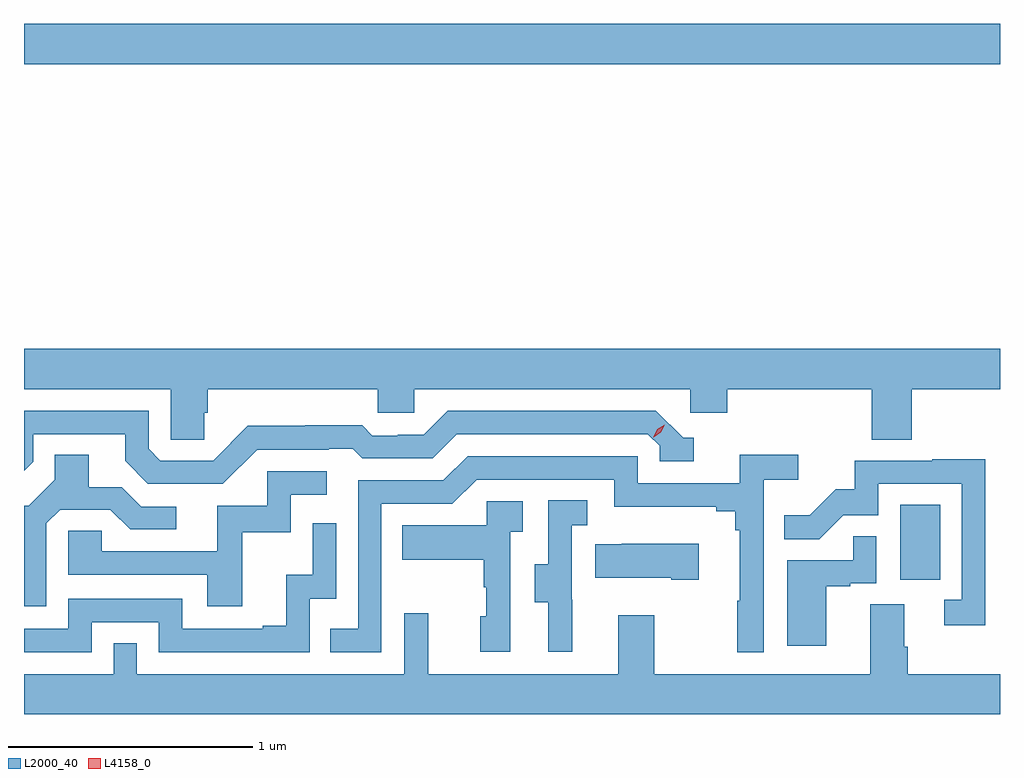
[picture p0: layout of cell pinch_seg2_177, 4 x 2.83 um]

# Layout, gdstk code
import gdstk
lib = gdstk.Library(unit=1e-6, precision=1e-09)
def R(c, l, rs):  # rectangles x0, y0, x1, y1
    for r in rs: c.add(gdstk.rectangle(r[:2], r[2:], *l))
def P(c, l, *ps):  # polygons
    for p in ps: c.add(gdstk.Polygon(p, *l))
L2000_40 = (2000, 40)
L4158_0 = (4158, 0)

pinch_seg2_177 = lib.new_cell('pinch_seg2_177')
R(pinch_seg2_177, L2000_40, [(1117.964,630.87,1118.128,631.177), (1114.373,632.984,1118.373,633.148)])
P(pinch_seg2_177, L2000_40, [(1115.111,631.554),(1115.126,631.554),(1115.126,631.652),(1115.823,631.652),(1115.823,631.554),(1115.973,631.554),(1115.973,631.652),(1117.104,631.652),(1117.104,631.554),(1117.256,631.554),(1117.256,631.652),(1117.847,631.652),(1117.847,631.444),(1118.012,631.444),(1118.012,631.652),(1118.373,631.652),(1118.373,631.816),(1114.373,631.816),(1114.373,631.652),(1114.974,631.652),(1114.974,631.444),(1115.111,631.444)],
  [(1115.328,631.404),(1115.621,631.404),(1115.621,631.407),(1115.72,631.407),(1115.759,631.368),(1116.048,631.368),(1116.147,631.467),(1116.93,631.467),(1116.978,631.419),(1116.978,631.356),(1117.117,631.356),(1117.117,631.452),(1117.074,631.452),(1116.963,631.563),(1116.11,631.563),(1116.011,631.464),(1115.904,631.464),(1115.904,631.461),(1115.801,631.461),(1115.759,631.504),(1115.526,631.504),(1115.526,631.501),(1115.29,631.501),(1115.148,631.359),(1114.932,631.359),(1114.884,631.407),(1114.884,631.563),(1114.373,631.563),(1114.373,631.316),(1114.41,631.353),(1114.41,631.467),(1114.787,631.467),(1114.787,631.357),(1114.881,631.263),(1115.187,631.263)],
  [(1115.838,631.182),(1116.129,631.182),(1116.228,631.281),(1116.792,631.281),(1116.792,631.169),(1117.211,631.169),(1117.211,631.15),(1117.288,631.15),(1117.288,631.073),(1117.307,631.073),(1117.307,630.785),(1117.296,630.785),(1117.296,630.573),(1117.404,630.573),(1117.404,631.28),(1117.546,631.28),(1117.546,631.382),(1117.307,631.382),(1117.307,631.266),(1116.888,631.266),(1116.888,631.377),(1116.191,631.377),(1116.092,631.278),(1115.742,631.278),(1115.742,630.669),(1115.629,630.669),(1115.629,630.573),(1115.838,630.573)],
  [(1114.464,631.101),(1114.521,631.158),(1114.727,631.158),(1114.808,631.077),(1114.996,631.077),(1114.996,631.17),(1114.854,631.17),(1114.774,631.25),(1114.639,631.25),(1114.639,631.382),(1114.499,631.382),(1114.499,631.28),(1114.392,631.173),(1114.373,631.173),(1114.373,630.762),(1114.464,630.762)],
  [(1118.313,631.364),(1118.095,631.364),(1118.095,631.359),(1117.777,631.359),(1117.777,631.242),(1117.7,631.242),(1117.593,631.135),(1117.489,631.135),(1117.489,631.036),(1117.633,631.036),(1117.731,631.134),(1117.875,631.134),(1117.875,631.263),(1118.217,631.263),(1118.217,630.789),(1118.145,630.789),(1118.145,630.684),(1118.313,630.684)],
  [(1115.267,631.065),(1115.466,631.065),(1115.466,631.218),(1115.614,631.218),(1115.614,631.314),(1115.37,631.314),(1115.37,631.173),(1115.165,631.173),(1115.165,630.987),(1114.691,630.987),(1114.691,631.071),(1114.554,631.071),(1114.554,630.891),(1115.123,630.891),(1115.123,630.762),(1115.267,630.762)],
  [(1116.62,630.789),(1116.618,630.789),(1116.618,631.093),(1116.682,631.093),(1116.682,631.196),(1116.522,631.196),(1116.522,630.933),(1116.467,630.933),(1116.467,630.778),(1116.521,630.778),(1116.521,630.576),(1116.62,630.576)],
  [(1116.366,631.067),(1116.418,631.067),(1116.418,631.191),(1116.27,631.191),(1116.27,631.093),(1115.923,631.093),(1115.923,630.953),(1116.258,630.953),(1116.258,630.839),(1116.268,630.839),(1116.268,630.72),(1116.242,630.72),(1116.242,630.576),(1116.366,630.576)],
  [(1114.65,630.696),(1114.926,630.696),(1114.926,630.573),(1115.544,630.573),(1115.544,630.792),(1115.652,630.792),(1115.652,631.102),(1115.556,631.102),(1115.556,630.89),(1115.447,630.89),(1115.447,630.682),(1115.351,630.682),(1115.351,630.669),(1115.022,630.669),(1115.022,630.792),(1114.554,630.792),(1114.554,630.669),(1114.373,630.669),(1114.373,630.573),(1114.65,630.573)],
  [(1117.66,630.843),(1117.76,630.843),(1117.76,630.855),(1117.866,630.855),(1117.866,631.049),(1117.771,631.049),(1117.771,630.951),(1117.502,630.951),(1117.502,630.6),(1117.66,630.6)],
  [(1117.138,631.018),(1116.823,631.018),(1116.823,631.015),(1116.715,631.015),(1116.715,630.878),(1117.025,630.878),(1117.025,630.871),(1117.138,630.871)],
  [(1117.981,630.596),(1117.981,630.77),(1117.841,630.77),(1117.841,630.484),(1116.957,630.484),(1116.957,630.724),(1116.809,630.724),(1116.809,630.484),(1116.029,630.484),(1116.029,630.733),(1115.931,630.733),(1115.931,630.484),(1114.836,630.484),(1114.836,630.611),(1114.74,630.611),(1114.74,630.484),(1114.373,630.484),(1114.373,630.32),(1118.373,630.32),(1118.373,630.484),(1117.994,630.484),(1117.994,630.596)])
P(pinch_seg2_177, L4158_0, [(1116.952,631.454),(1116.952,631.455),(1116.969,631.487),(1116.999,631.506),(1117,631.506),(1117,631.506),(1116.983,631.474),(1116.953,631.454)])

lib.write_gds('pinch_seg2_177.gds')
